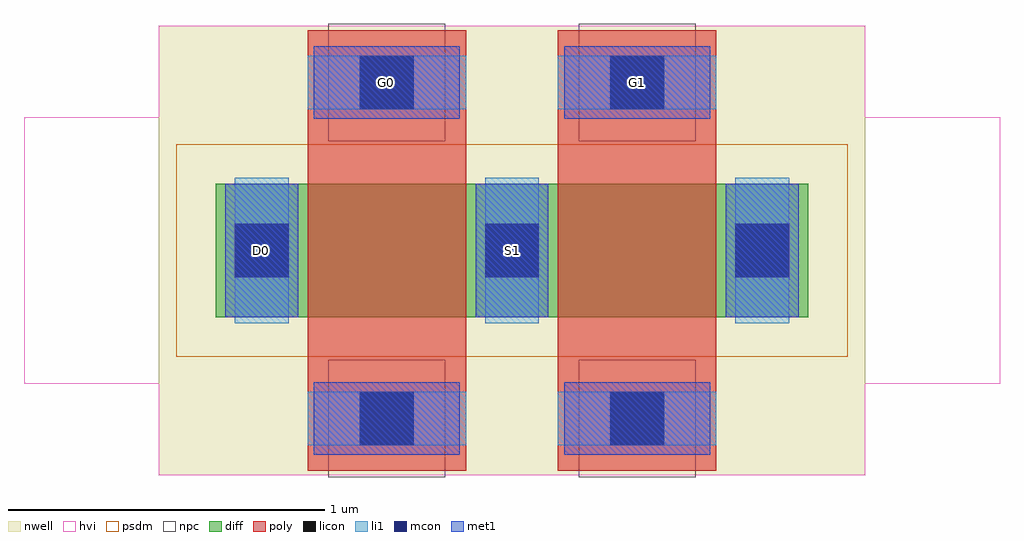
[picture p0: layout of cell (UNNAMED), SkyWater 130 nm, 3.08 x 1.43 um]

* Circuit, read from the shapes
.subckt (UNNAMED) D0 G0 G1 S1
XM1 S1 G0 D0 n1 sky130_fd_pr__pfet_g5v0d10v5 w=0.42 l=0.5
XM2 n2 G1 S1 n1 sky130_fd_pr__pfet_g5v0d10v5 w=0.42 l=0.5
.ends

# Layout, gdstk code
import gdstk
lib = gdstk.Library(unit=1e-6, precision=1e-09)
def R(c, l, rs):  # rectangles x0, y0, x1, y1
    for r in rs: c.add(gdstk.rectangle(r[:2], r[2:], *l))
def A(c, l, x, y, w, h, nx, ny, dx, dy):  # array of equal rectangles
    R(c, l, [(x+i*dx, y+j*dy, x+i*dx+w, y+j*dy+h) for i in range(nx) for j in range(ny)])
nwell = (64, 20)
diff = (65, 20)
poly = (66, 20)
licon = (66, 44)
li1 = (67, 20)
mcon = (67, 44)
met1 = (68, 20)
hvi = (75, 20)
psdm = (94, 20)
npc = (95, 20)

c__unnamed_ = lib.new_cell('(UNNAMED)')
R(c__unnamed_, nwell, [(-1.115,-0.71,1.115,0.71)])
R(c__unnamed_, diff, [(-0.935,-0.21,0.935,0.21)])
R(c__unnamed_, poly, [(-0.645,-0.695,-0.145,0.695), (0.145,-0.695,0.645,0.695)])
A(c__unnamed_, licon, -0.875, -0.085, 0.17, 0.17, 3, 1, 0.79, 0)
R(c__unnamed_, licon, [(-0.48,-0.615,-0.31,-0.445), (0.31,-0.615,0.48,-0.445), (-0.48,0.445,-0.31,0.615), (0.31,0.445,0.48,0.615)])
A(c__unnamed_, li1, -0.875, -0.23, 0.17, 0.46, 3, 1, 0.79, 0)
R(c__unnamed_, li1, [(-0.645,-0.615,-0.145,-0.445), (0.145,-0.615,0.645,-0.445), (-0.645,0.445,-0.145,0.615), (0.145,0.445,0.645,0.615)])
A(c__unnamed_, mcon, -0.875, -0.085, 0.17, 0.17, 3, 1, 0.79, 0)
R(c__unnamed_, mcon, [(-0.48,-0.615,-0.31,-0.445), (0.31,-0.615,0.48,-0.445), (-0.48,0.445,-0.31,0.615), (0.31,0.445,0.48,0.615)])
A(c__unnamed_, met1, -0.905, -0.21, 0.23, 0.42, 3, 1, 0.79, 0)
R(c__unnamed_, met1, [(-0.625,-0.645,-0.165,-0.415), (0.165,-0.645,0.625,-0.415), (-0.625,0.415,-0.165,0.645), (0.165,0.415,0.625,0.645)])
R(c__unnamed_, hvi, [(-1.115,-0.71,1.115,-0.42), (-1.54,-0.42,1.54,0.42), (-1.115,0.42,1.115,0.71)])
R(c__unnamed_, psdm, [(-1.06,-0.335,1.06,0.335)])
R(c__unnamed_, npc, [(-0.58,-0.715,-0.21,-0.345), (0.21,-0.715,0.58,-0.345), (-0.58,0.345,-0.21,0.715), (0.21,0.345,0.58,0.715)])
c__unnamed_.add(gdstk.Label('D0', (-0.79,0), layer=67, texttype=5))
c__unnamed_.add(gdstk.Label('G0', (-0.395,0.53), layer=67, texttype=5))
c__unnamed_.add(gdstk.Label('S1', (0,0), layer=67, texttype=5))
c__unnamed_.add(gdstk.Label('G1', (0.395,0.53), layer=67, texttype=5))

lib.write_gds('_UNNAMED_.gds')
